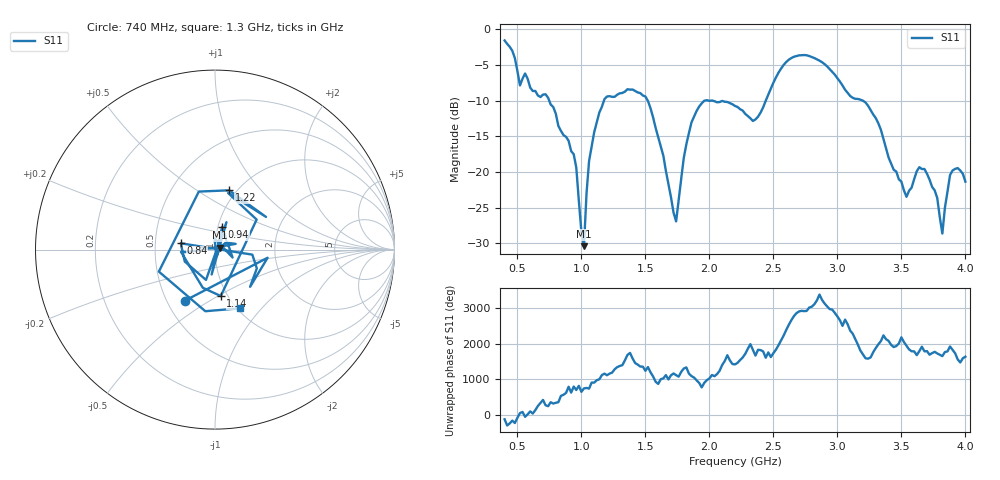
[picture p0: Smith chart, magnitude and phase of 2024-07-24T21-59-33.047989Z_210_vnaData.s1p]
!Created with skrf (http://scikit-rf.org).
# Hz S RI R 50.0
!freq ReS11 ImS11
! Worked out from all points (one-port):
!   181 points, 400 MHz to 4 GHz, reference 50 ohm
!   lowest |S11| = -30.4 dB at 1.02 GHz (marker M1), VSWR 1.06, Z = 52.9 + j1.16 ohm
!   |S11| at or under -10 dB: 748.2 MHz to 1.176 GHz (428.1 MHz wide, 44.5 % of centre); 1.518 GHz to 1.966 GHz (448.1 MHz wide, 25.7 % of centre); 3.197 GHz to end of sweep (the widest 3 of 5)
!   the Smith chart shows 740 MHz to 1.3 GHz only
!   S11 on the Smith chart (normalised r, x): 740 MHz: 0.62, -0.39; 840 MHz: 0.68, +0.05; 940 MHz: 1.05, +0.27; 1.14 GHz: 0.93, -0.52; 1.22 GHz: 0.92, +0.69; 1.3 GHz: 1.03, -0.77
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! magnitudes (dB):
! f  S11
! 400 MHz  -1.6
! 520 MHz  -7.9
! 560 MHz  -6.2
! 740 MHz  -9.6
! 840 MHz  -14.2
! 860 MHz  -14.8
! 940 MHz  -17.5
! 1.02 GHz  -30.4
! 1.06 GHz  -18.5
! 1.14 GHz  -11.7
! 1.22 GHz  -9.4
! 1.3 GHz  -9.0
! 1.52 GHz  -10.1
! 1.74 GHz  -26.9
! 1.76 GHz  -23.9
! 1.82 GHz  -16.1
! 1.92 GHz  -10.8
! 2.2 GHz  -10.8
! 2.36 GHz  -12.6
! 2.66 GHz  -3.9
! 3.1 GHz  -9.4
! 3.3 GHz  -12.5
! 3.56 GHz  -22.6
! 3.68 GHz  -19.6
! 3.78 GHz  -23.6
! 3.82 GHz  -28.6
! 3.88 GHz  -20.4
! 4 GHz  -21.4
